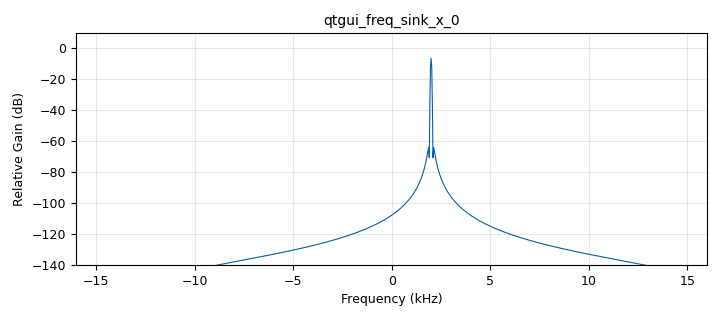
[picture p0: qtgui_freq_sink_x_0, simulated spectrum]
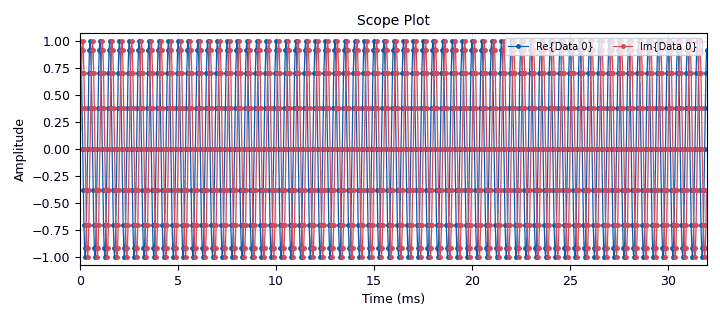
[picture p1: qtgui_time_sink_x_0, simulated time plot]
options:
  parameters:
    author: mxana
    generate_options: qt_gui
    id: lesson2
    output_language: python
    title: Not titled yet
  states: {}

blocks:
- name: samp_rate
  id: variable
  parameters:
    value: 32e3
  states: {}
- name: analog_sig_source_x_0
  id: analog_sig_source_x
  parameters:
    amp: '1'
    freq: '1000'
    offset: '0'
    phase: '0'
    samp_rate: 16e3
    type: complex
    waveform: analog.GR_COS_WAVE
  states: {}
- name: blocks_throttle_0
  id: blocks_throttle
  parameters:
    samples_per_second: samp_rate
    type: complex
  states: {}
- name: qtgui_freq_sink_x_0
  id: qtgui_freq_sink_x
  parameters:
    average: '0.2'
    bw: 'samp_rate '
    ctrlpanel: 'True'
    fc: '0'
    fftsize: '1024'
    grid: 'True'
    type: complex
    wintype: firdes.WIN_KAISER
  states: {}
- name: qtgui_time_sink_x_0
  id: qtgui_time_sink_x
  parameters:
    ctrlpanel: 'True'
    grid: 'True'
    marker1: '0'
    marker2: '0'
    name: '"Scope Plot"'
    size: '1024'
    srate: samp_rate
    style1: '3'
    style2: '3'
    type: complex
  states: {}

connections:
- [analog_sig_source_x_0, '0', blocks_throttle_0, '0']
- [blocks_throttle_0, '0', qtgui_freq_sink_x_0, '0']
- [blocks_throttle_0, '0', qtgui_time_sink_x_0, '0']

metadata:
  file_format: 1
